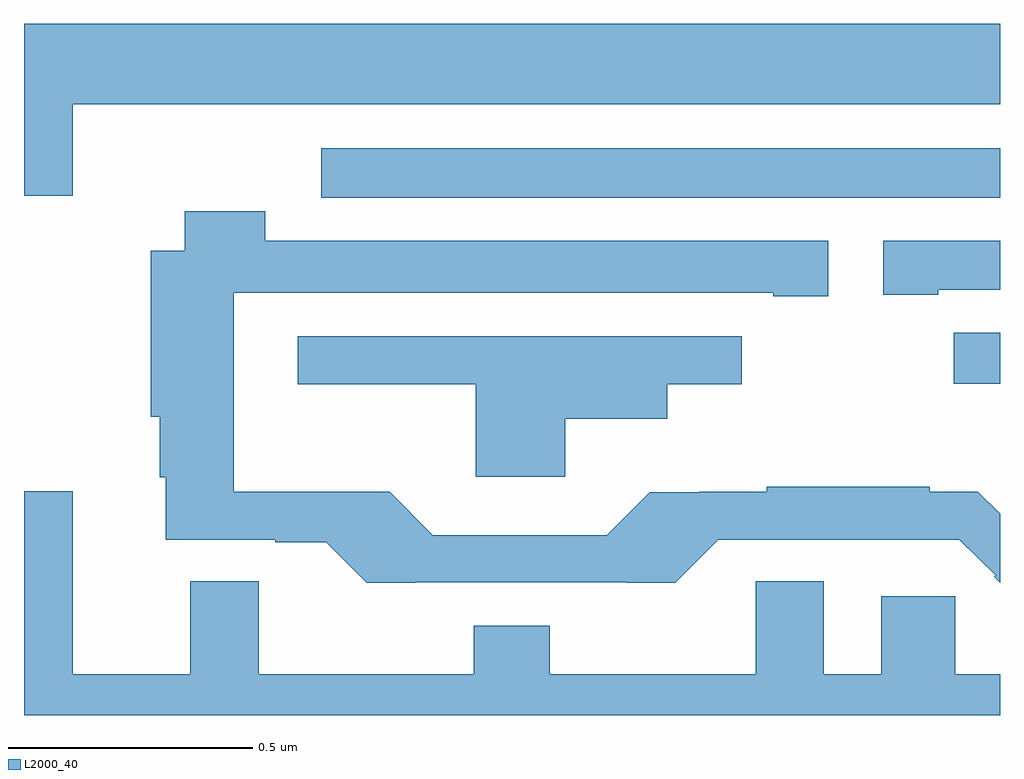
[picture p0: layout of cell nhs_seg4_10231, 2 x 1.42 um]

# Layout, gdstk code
import gdstk
lib = gdstk.Library(unit=1e-6, precision=1e-09)
def R(c, l, rs):  # rectangles x0, y0, x1, y1
    for r in rs: c.add(gdstk.rectangle(r[:2], r[2:], *l))
def P(c, l, *ps):  # polygons
    for p in ps: c.add(gdstk.Polygon(p, *l))
L2000_40 = (2000, 40)

nhs_seg4_10231 = lib.new_cell('nhs_seg4_10231')
R(nhs_seg4_10231, L2000_40, [(238.905,797.579,239,797.683), (237.609,797.96,239,798.061)])
P(nhs_seg4_10231, L2000_40, [(237.1,798.152),(239,798.152),(239,798.316),(237,798.316),(237,797.964),(237.1,797.964)],
  [(237.802,797.172),(238.235,797.172),(238.235,797.171),(238.335,797.171),(238.423,797.259),(238.917,797.259),(238.991,797.186),(238.988,797.183),(239,797.171),(239,797.312),(238.954,797.358),(238.856,797.358),(238.856,797.368),(238.522,797.368),(238.522,797.358),(238.384,797.358),(238.384,797.356),(238.282,797.356),(238.194,797.268),(237.838,797.268),(237.749,797.358),(237.43,797.358),(237.43,797.765),(238.535,797.765),(238.535,797.758),(238.648,797.758),(238.648,797.872),(237.494,797.872),(237.494,797.932),(237.329,797.932),(237.329,797.851),(237.26,797.851),(237.26,797.511),(237.278,797.511),(237.278,797.387),(237.29,797.387),(237.29,797.259),(237.515,797.259),(237.515,797.254),(237.619,797.254),(237.702,797.171),(237.802,797.171)],
  [(238.873,797.771),(239,797.771),(239,797.872),(238.761,797.872),(238.761,797.761),(238.873,797.761)],
  [(238.109,797.507),(238.318,797.507),(238.318,797.578),(238.471,797.578),(238.471,797.676),(237.561,797.676),(237.561,797.578),(237.926,797.578),(237.926,797.388),(238.109,797.388)],
  [(239,796.984),(238.908,796.984),(238.908,797.143),(238.757,797.143),(238.757,796.984),(238.639,796.984),(238.639,797.174),(238.499,797.174),(238.499,796.984),(238.077,796.984),(238.077,797.083),(237.922,797.083),(237.922,796.984),(237.481,796.984),(237.481,797.174),(237.341,797.174),(237.341,796.984),(237.1,796.984),(237.1,797.359),(237,797.359),(237,796.9),(239,796.9)])

lib.write_gds('nhs_seg4_10231.gds')
